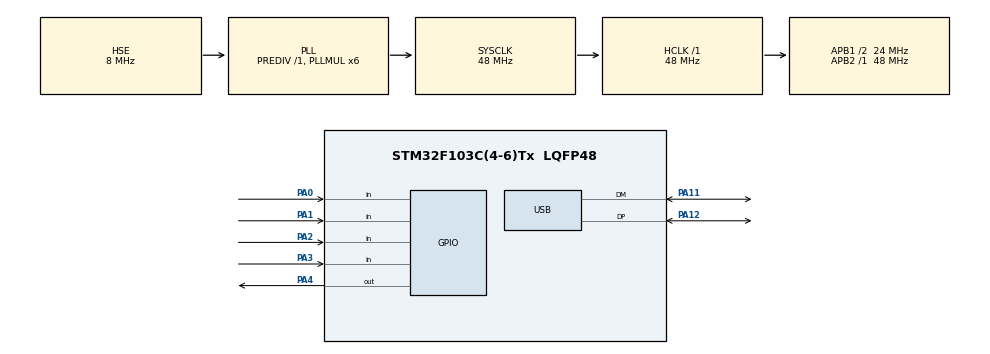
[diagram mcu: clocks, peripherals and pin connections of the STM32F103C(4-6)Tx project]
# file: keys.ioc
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Mcu.Family=STM32F1
Mcu.Name=STM32F103C(4-6)Tx
Mcu.Package=LQFP48
NVIC.PriorityGroup=NVIC_PRIORITYGROUP_4
NVIC.USB_LP_CAN1_RX0_IRQn=true\:0\:0\:false\:false\:true\:false\:true\:true
PA0-WKUP.GPIO_PuPd=GPIO_PULLUP
PA0-WKUP.Signal=GPIO_Input
PA1.GPIO_PuPd=GPIO_PULLUP
PA1.Signal=GPIO_Input
PA11.Mode=Device
PA11.Signal=USB_DM
PA12.Mode=Device
PA12.Signal=USB_DP
PA13.Mode=Serial_Wire
PA13.Signal=SYS_JTMS-SWDIO
PA14.Mode=Serial_Wire
PA14.Signal=SYS_JTCK-SWCLK
PA2.GPIO_PuPd=GPIO_PULLUP
PA2.Signal=GPIO_Input
PA3.GPIO_PuPd=GPIO_PULLUP
PA3.Signal=GPIO_Input
PA4.Signal=GPIO_Output
PD0-OSC_IN.Mode=HSE-External-Oscillator
PD0-OSC_IN.Signal=RCC_OSC_IN
PD1-OSC_OUT.Mode=HSE-External-Oscillator
PD1-OSC_OUT.Signal=RCC_OSC_OUT
ProjectManager.HeapSize=0x200
ProjectManager.StackSize=0x400
ProjectManager.TargetToolchain=STM32CubeIDE
RCC.AHBFreq_Value=48000000
RCC.APB1CLKDivider=RCC_HCLK_DIV2
RCC.APB1Freq_Value=24000000
RCC.APB1TimFreq_Value=48000000
RCC.APB2Freq_Value=48000000
RCC.APB2TimFreq_Value=48000000
RCC.HCLKFreq_Value=48000000
RCC.PLLMUL=RCC_PLL_MUL6
RCC.SYSCLKFreq_VALUE=48000000
RCC.SYSCLKSource=RCC_SYSCLKSOURCE_PLLCLK
RCC.USBFreq_Value=48000000
USB_DEVICE.CLASS_NAME_FS=HID
USB_DEVICE.PRODUCT_STRING_HID_FS=STM32 KEYBOARD
USB_DEVICE.VirtualMode=Hid
USB_DEVICE.VirtualModeFS=Hid_FS
VP_USB_DEVICE_VS_USB_DEVICE_HID_FS.Mode=HID_FS
board=custom

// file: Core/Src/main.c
/* USER CODE BEGIN Header */
/**
  ******************************************************************************
  * @file           : main.c
  * @brief          : Main program body
  ******************************************************************************
  * @attention
  *
  * Copyright (c) 2022 STMicroelectronics.
  * All rights reserved.
  *
  * This software is licensed under terms that can be found in the LICENSE file
  * in the root directory of this software component.
  * If no LICENSE file comes with this software, it is provided AS-IS.
  *
  ******************************************************************************
  */
/* USER CODE END Header */
#include "main.h"
#include "usb_device.h"

/* USER CODE BEGIN Includes */
#include "usbd_hid.h"
/* USER CODE END Includes */

void SystemClock_Config(void);
static void MX_GPIO_Init(void);

/* USER CODE BEGIN 0 */

extern USBD_HandleTypeDef hUsbDeviceFS;

//Keyboard structure data
typedef struct  {
	uint8_t MODIFIER;
	uint8_t RESERVED;
	uint8_t KEYCODE1;
	uint8_t KEYCODE2;
	uint8_t KEYCODE3;
	uint8_t KEYCODE4;
	uint8_t KEYCODE5;
	uint8_t KEYCODE6;
} keyboardHID;

//Initialize structure with a default value of 0
keyboardHID keyboardhid = {0,0,0,0,0,0,0,0};

//Initialize the ports and pins for every input you are using
#define PORT_1 GPIOA
#define PIN_1 GPIO_PIN_0

#define PORT_2 GPIOA
#define PIN_2 GPIO_PIN_1

#define PORT_3 GPIOA
#define PIN_3 GPIO_PIN_2

#define PORT_4 GPIOA
#define PIN_4 GPIO_PIN_3

	uint8_t key;

	//Function for each button press. Add more for more keys
	char read (void) {
		if ((!(HAL_GPIO_ReadPin (PORT_1, PIN_1))) == 0 || (!(HAL_GPIO_ReadPin (PORT_2, PIN_2))) == 0
				|| (!(HAL_GPIO_ReadPin (PORT_3, PIN_3))) == 0 || (!(HAL_GPIO_ReadPin (PORT_4, PIN_4))) == 0) {
				while ((!(HAL_GPIO_ReadPin (PORT_1, PIN_1))) == 0) {
					return 'T';
			}

				while ((!(HAL_GPIO_ReadPin (PORT_2, PIN_2))) == 0) {
					return 'E';
			}

				while ((!(HAL_GPIO_ReadPin (PORT_3, PIN_3))) == 0) {
					return 'S';
			}

				while ((!(HAL_GPIO_ReadPin (PORT_4, PIN_4))) == 0) {
					return '!';
			}
		}
	}

/* USER CODE END 0 */

int main(void)
{

  /* MCU Configuration--------------------------------------------------------*/

  /* Reset of all peripherals, Initializes the Flash interface and the Systick. */
  HAL_Init();

  /* Configure the system clock */
  SystemClock_Config();

  /* Initialize all configured peripherals */
  MX_GPIO_Init();
  MX_USB_DEVICE_Init();

  /* Infinite loop */
  /* USER CODE BEGIN WHILE */
  while (1)
  {
	  key = read();

	  if (key != 0x01){
	  	  if (key == '1')  keyboardhid.KEYCODE1 = 0x1E;
	  	  if (key == '2')  keyboardhid.KEYCODE1 = 0x1F;
	  	  if (key == '3')  keyboardhid.KEYCODE1 = 0x20;
	  	  if (key == '4')  keyboardhid.KEYCODE1 = 0x21;
		  if (key == '5')  keyboardhid.KEYCODE1 = 0x22;
		  if (key == '6')  keyboardhid.KEYCODE1 = 0x23;
		  if (key == '7')  keyboardhid.KEYCODE1 = 0x24;
		  if (key == '8')  keyboardhid.KEYCODE1 = 0x25;
		  if (key == '9')  keyboardhid.KEYCODE1 = 0x26;
		  if (key == '0')  keyboardhid.KEYCODE1 = 0x27;

		  if (key == 'a')
		  {
			  keyboardhid.KEYCODE1 = 0x04;  // press 'a'
		  }
		  if (key == 'b')
		  {
			  keyboardhid.KEYCODE1 = 0x05;  // press 'b'
		  }
		  if (key == 'c')
		  {
			  keyboardhid.KEYCODE1 = 0x06;  // press 'c'
		  }
		  if (key == 'd')
		  {
			  keyboardhid.KEYCODE1 = 0x07;  // press 'd'
		  }
		  if (key == 'e')
		  {
			  keyboardhid.KEYCODE1 = 0x08;  // press 'e'
		  }
		  if (key == 'f')
		  {
			  keyboardhid.KEYCODE1 = 0x09;  // press 'f'
		  }
		  if (key == 'g')
		  {
			  keyboardhid.KEYCODE1 = 0x0A;  // press 'g'
		  }
		  if (key == 'h')
		  {
			  keyboardhid.KEYCODE1 = 0x0B;  // press 'h'
		  }
		  if (key == 'i')
		  {
			  keyboardhid.KEYCODE1 = 0x0C;  // press 'i'
		  }
		  if (key == 'j')
		  {
			  keyboardhid.KEYCODE1 = 0x0D;  // press 'j'
		  }
		  if (key == 'k')
		  {
			  keyboardhid.KEYCODE1 = 0x0E;  // press 'k'
		  }
		  if (key == 'l')
		  {
			  keyboardhid.KEYCODE1 = 0x0F;  // press 'l'
		  }
		  if (key == 'm')
		  {
			  keyboardhid.KEYCODE1 = 0x10;  // press 'm'
		  }
		  if (key == 'n')
		  {
			  keyboardhid.KEYCODE1 = 0x11;  // press 'n'
		  }
		  if (key == 'o')
		  {
			  keyboardhid.KEYCODE1 = 0x12;  // press 'o'
		  }
		  if (key == 'p')
		  {
			  keyboardhid.KEYCODE1 = 0x13;  // press 'p'
		  }
		  if (key == 'q')
		  {
			  keyboardhid.KEYCODE1 = 0x14;  // press 'q'
		  }
		  if (key == 'r')
		  {
			  keyboardhid.KEYCODE1 = 0x15;  // press 'r'
		  }
		  if (key == 's')
		  {
			  keyboardhid.KEYCODE1 = 0x16;  // press 's'
		  }
		  if (key == 't')
		  {
			  keyboardhid.KEYCODE1 = 0x17;  // press 't'
		  }
		  if (key == 'u')
		  {
			  keyboardhid.KEYCODE1 = 0x18;  // press 'u'
		  }
		  if (key == 'v')
		  {
			  keyboardhid.KEYCODE1 = 0x19;  // press 'v'
		  }
		  if (key == 'w')
		  {
			  keyboardhid.KEYCODE1 = 0x1A;  // press 'w'
		  }
		  if (key == 'x')
		  {
			  keyboardhid.KEYCODE1 = 0x1B;  // press 'x'
		  }
		  if (key == 'y')
		  {
			  keyboardhid.KEYCODE1 = 0x1C;  // press 'y'
		  }
		  if (key == 'z')
		  {
			  keyboardhid.KEYCODE1 = 0x1D;  // press 'z'
		  }

		  if (key == 'A')
		  {
			  keyboardhid.MODIFIER = 0x02;  // left shift pressed
			  keyboardhid.KEYCODE1 = 0x04;  // press 'a'
		  }
		  if (key == 'B')
		  {
			  keyboardhid.MODIFIER = 0x02;  // left shift pressed
			  keyboardhid.KEYCODE1 = 0x05;  // press 'b'
		  }
		  if (key == 'C')
		  {
			  keyboardhid.MODIFIER = 0x02;  // left shift pressed
			  keyboardhid.KEYCODE1 = 0x06;  // press 'c'
		  }
		  if (key == 'D')
		  {
			  keyboardhid.MODIFIER = 0x02;  // left shift pressed
			  keyboardhid.KEYCODE1 = 0x07;  // press 'd'
		  }
		  if (key == 'E')
		  {
			  keyboardhid.MODIFIER = 0x02;  // left shift pressed
			  keyboardhid.KEYCODE1 = 0x08;  // press 'e'
		  }
		  if (key == 'F')
		  {
			  keyboardhid.MODIFIER = 0x02;  // left shift pressed
			  keyboardhid.KEYCODE1 = 0x09;  // press 'f'
		  }
		  if (key == 'G')
		  {
			  keyboardhid.MODIFIER = 0x02;  // left shift pressed
			  keyboardhid.KEYCODE1 = 0x0A;  // press 'g'
		  }
		  if (key == 'H')
		  {
			  keyboardhid.MODIFIER = 0x02;  // left shift pressed
			  keyboardhid.KEYCODE1 = 0x0B;  // press 'h'
		  }
		  if (key == 'I')
		  {
			  keyboardhid.MODIFIER = 0x02;  // left shift pressed
			  keyboardhid.KEYCODE1 = 0x0C;  // press 'i'
		  }
		  if (key == 'J')
		  {
			  keyboardhid.MODIFIER = 0x02;  // left shift pressed
			  keyboardhid.KEYCODE1 = 0x0D;  // press 'j'
		  }
		  if (key == 'K')
		  {
			  keyboardhid.MODIFIER = 0x02;  // left shift pressed
			  keyboardhid.KEYCODE1 = 0x0E;  // press 'k'
		  }
		  if (key == 'L')
		  {
			  keyboardhid.MODIFIER = 0x02;  // left shift pressed
			  keyboardhid.KEYCODE1 = 0x0F;  // press 'l'
		  }
		  if (key == 'M')
		  {
			  keyboardhid.MODIFIER = 0x02;  // left shift pressed
			  keyboardhid.KEYCODE1 = 0x10;  // press 'm'
		  }
		  if (key == 'N')
		  {
			  keyboardhid.MODIFIER = 0x02;  // left shift pressed
			  keyboardhid.KEYCODE1 = 0x11;  // press 'n'
		  }
		  if (key == 'O')
		  {
			  keyboardhid.MODIFIER = 0x02;  // left shift pressed
			  keyboardhid.KEYCODE1 = 0x12;  // press 'o'
		  }
		  if (key == 'P')
		  {
			  keyboardhid.MODIFIER = 0x02;  // left shift pressed
			  keyboardhid.KEYCODE1 = 0x13;  // press 'p'
		  }
		  if (key == 'Q')
		  {
			  keyboardhid.MODIFIER = 0x02;  // left shift pressed
			  keyboardhid.KEYCODE1 = 0x14;  // press 'q'
		  }
		  if (key == 'R')
		  {
			  keyboardhid.MODIFIER = 0x02;  // left shift pressed
			  keyboardhid.KEYCODE1 = 0x15;  // press 'r'
		  }
		  if (key == 'S')
		  {
			  keyboardhid.MODIFIER = 0x02;  // left shift pressed
			  keyboardhid.KEYCODE1 = 0x16;  // press 's'
		  }
		  if (key == 'T')
		  {
			  keyboardhid.MODIFIER = 0x02;  // left shift pressed
			  keyboardhid.KEYCODE1 = 0x17;  // press 't'
		  }
		  if (key == 'U')
		  {
			  keyboardhid.MODIFIER = 0x02;  // left shift pressed
			  keyboardhid.KEYCODE1 = 0x18;  // press 'u'
		  }
		  if (key == 'V')
		  {
			  keyboardhid.MODIFIER = 0x02;  // left shift pressed
			  keyboardhid.KEYCODE1 = 0x19;  // press 'v'
		  }
		  if (key == 'W')
		  {
			  keyboardhid.MODIFIER = 0x02;  // left shift pressed
			  keyboardhid.KEYCODE1 = 0x1A;  // press 'w'
		  }
		  if (key == 'X')
		  {
			  keyboardhid.MODIFIER = 0x02;  // left shift pressed
			  keyboardhid.KEYCODE1 = 0x1B;  // press 'x'
		  }
		  if (key == 'Y')
		  {
			  keyboardhid.MODIFIER = 0x02;  // left shift pressed
			  keyboardhid.KEYCODE1 = 0x1C;  // press 'y'
		  }
		  if (key == 'Z')
		  {
			  keyboardhid.MODIFIER = 0x02;  // left shift pressed
			  keyboardhid.KEYCODE1 = 0x1D;  // press 'z'
		  }
		  if (key == ';')
		  {
			  keyboardhid.KEYCODE1 = 0x33;  // press ';'
		  }
		  if (key == ';')
		  {
			  keyboardhid.MODIFIER = 0x02;	// left shift pressed
			  keyboardhid.KEYCODE1 = 0x33;  // press ';'
		  }
		  if (key == '\'')
		  {
			  keyboardhid.KEYCODE1 = 0x34;  // press '''
		  }
		  if (key == '\"')
		  {
			  keyboardhid.MODIFIER = 0x02; 	// left shift pressed
			  keyboardhid.KEYCODE1 = 0x34;  // press '''
		  }
		  if (key == '[')
		  {
			  keyboardhid.KEYCODE1 = 0x2F;  // press '['
		  }
		  if (key == '{')
		  {
			  keyboardhid.MODIFIER = 0x02; 	// left shift pressed
			  keyboardhid.KEYCODE1 = 0x2F;  // press '['
		  }
		  if (key == ']')
		  {
			  keyboardhid.KEYCODE1 = 0x30;  // press ']'
		  }
		  if (key == '}')
		  {
			  keyboardhid.MODIFIER = 0x02; 	// left shift pressed
			  keyboardhid.KEYCODE1 = 0x30;  // press ']'
		  }
		  if (key == '\\')
		  {
			  keyboardhid.KEYCODE1 = 0x31;  // press '\'
		  }
		  if (key == '|')
		  {
			  keyboardhid.MODIFIER = 0x02; 	// left shift pressed
			  keyboardhid.KEYCODE1 = 0x31;  // press '\'
		  }

		  if (key == ',')
		  {
			  keyboardhid.KEYCODE1 = 0x36;  // press ','
		  }
		  if (key == '<')
		  {
			  keyboardhid.MODIFIER = 0x02;  // left shift pressed
			  keyboardhid.KEYCODE1 = 0x36;  // press ','
		  }
		  if (key == '.')
		  {
			  keyboardhid.KEYCODE1 = 0x37;  // press '.'
		  }
		  if (key == '>')
		  {
			  keyboardhid.MODIFIER = 0x02;  // left shift pressed
			  keyboardhid.KEYCODE1 = 0x37;  // press '.'
		  }
		  if (key == '/')
		  {
			  keyboardhid.KEYCODE1 = 0x38;  // press '/'
		  }
		  if (key == '?')
		  {
			  keyboardhid.MODIFIER = 0x02;  // left shift pressed
			  keyboardhid.KEYCODE1 = 0x38;  // press '/'
		  }
		  if (key == '!')
		  {
			  keyboardhid.MODIFIER = 0x02;  // left shift pressed
			  keyboardhid.KEYCODE1 = 0x1E;  // press '1'
		  }
		  if (key == '@')
		  {
			  keyboardhid.MODIFIER = 0x02;	// left shift pressed
			  keyboardhid.KEYCODE1 = 0x1F;	// press '2'
		  }
		  if (key == '#')
		  {
			  keyboardhid.MODIFIER = 0x02;  // left shift pressed
			  keyboardhid.KEYCODE1 = 0x20;  // press '3'
		  }
		  if (key == '$')
		  {
			  keyboardhid.MODIFIER = 0x02;  // left shift pressed
			  keyboardhid.KEYCODE1 = 0x21;  // press '4'
		  }
		  if (key == '%')
		  {
			  keyboardhid.MODIFIER = 0x02;  // left shift pressed
			  keyboardhid.KEYCODE1 = 0x22;  // press '5'
		  }
		  if (key == '^')
		  {
			  keyboardhid.MODIFIER = 0x02;  // left shift pressed
			  keyboardhid.KEYCODE1 = 0x23;  // press '6'
		  }
		  if (key == '&')
		  {
			  keyboardhid.MODIFIER = 0x02;  // left shift pressed
			  keyboardhid.KEYCODE1 = 0x24;  // press '7'
		  }
		  if (key == '*')
		  {
			  keyboardhid.MODIFIER = 0x02;  // left shift pressed
			  keyboardhid.KEYCODE1 = 0x25;  // press '8'
		  }
		  if (key == '(')
		  {
			  keyboardhid.MODIFIER = 0x02;  // left shift pressed
			  keyboardhid.KEYCODE1 = 0x26;  // press '9'
		  }
		  if (key == ')')
		  {
			  keyboardhid.MODIFIER = 0x02;  // left shift pressed
			  keyboardhid.KEYCODE1 = 0x27;  // press '0'
		  }
		  if (key == '-')
		  {
			  keyboardhid.KEYCODE1 = 0x2D;  // press '-'
		  }
		  if (key == '_')
		  {
			  keyboardhid.MODIFIER = 0x02;  // left shift pressed
			  keyboardhid.KEYCODE1 = 0x2D;  // press '-'
		  }
		  if (key == '=')
		  {
			  keyboardhid.KEYCODE1 = 0x2E;  // press '='
		  }
		  if (key == '+')
		  {
			  keyboardhid.MODIFIER = 0x02;  // left shift pressed
			  keyboardhid.KEYCODE1 = 0x2E;  // press '='
		  }

	  	  USBD_HID_SendReport(&hUsbDeviceFS, &keyboardhid, sizeof (keyboardhid));
	  	  keyboardhid.KEYCODE1 = 0x00;  // release key
	  	  USBD_HID_SendReport(&hUsbDeviceFS, &keyboardhid, sizeof (keyboardhid));
	  	  HAL_Delay (50);
	  }

  }

  /* USER CODE END 3 */
}

void SystemClock_Config(void)
{
  RCC_OscInitTypeDef RCC_OscInitStruct = {0};
  RCC_ClkInitTypeDef RCC_ClkInitStruct = {0};
  RCC_PeriphCLKInitTypeDef PeriphClkInit = {0};

  /** Initializes the RCC Oscillators according to the specified parameters
  * in the RCC_OscInitTypeDef structure.
  */
  RCC_OscInitStruct.OscillatorType = RCC_OSCILLATORTYPE_HSE;
  RCC_OscInitStruct.HSEState = RCC_HSE_ON;
  RCC_OscInitStruct.HSEPredivValue = RCC_HSE_PREDIV_DIV1;
  RCC_OscInitStruct.HSIState = RCC_HSI_ON;
  RCC_OscInitStruct.PLL.PLLState = RCC_PLL_ON;
  RCC_OscInitStruct.PLL.PLLSource = RCC_PLLSOURCE_HSE;
  RCC_OscInitStruct.PLL.PLLMUL = RCC_PLL_MUL6;
  if (HAL_RCC_OscConfig(&RCC_OscInitStruct) != HAL_OK)
  {
    Error_Handler();
  }

  /** Initializes the CPU, AHB and APB buses clocks
  */
  RCC_ClkInitStruct.ClockType = RCC_CLOCKTYPE_HCLK|RCC_CLOCKTYPE_SYSCLK
                              |RCC_CLOCKTYPE_PCLK1|RCC_CLOCKTYPE_PCLK2;
  RCC_ClkInitStruct.SYSCLKSource = RCC_SYSCLKSOURCE_PLLCLK;
  RCC_ClkInitStruct.AHBCLKDivider = RCC_SYSCLK_DIV1;
  RCC_ClkInitStruct.APB1CLKDivider = RCC_HCLK_DIV2;
  RCC_ClkInitStruct.APB2CLKDivider = RCC_HCLK_DIV1;

  if (HAL_RCC_ClockConfig(&RCC_ClkInitStruct, FLASH_LATENCY_1) != HAL_OK)
  {
    Error_Handler();
  }
  PeriphClkInit.PeriphClockSelection = RCC_PERIPHCLK_USB;
  PeriphClkInit.UsbClockSelection = RCC_USBCLKSOURCE_PLL;
  if (HAL_RCCEx_PeriphCLKConfig(&PeriphClkInit) != HAL_OK)
  {
    Error_Handler();
  }
}

static void MX_GPIO_Init(void)
{
  GPIO_InitTypeDef GPIO_InitStruct = {0};

  /* GPIO Ports Clock Enable */
  __HAL_RCC_GPIOD_CLK_ENABLE();
  __HAL_RCC_GPIOA_CLK_ENABLE();

  /*Configure GPIO pin Output Level */
  HAL_GPIO_WritePin(GPIOA, GPIO_PIN_4, GPIO_PIN_RESET);

  /*Configure GPIO pins : PA0 PA1 PA2 PA3 */
  GPIO_InitStruct.Pin = GPIO_PIN_0|GPIO_PIN_1|GPIO_PIN_2|GPIO_PIN_3;
  GPIO_InitStruct.Mode = GPIO_MODE_INPUT;
  GPIO_InitStruct.Pull = GPIO_PULLUP;
  HAL_GPIO_Init(GPIOA, &GPIO_InitStruct);

  /*Configure GPIO pin : PA4 */
  GPIO_InitStruct.Pin = GPIO_PIN_4;
  GPIO_InitStruct.Mode = GPIO_MODE_OUTPUT_PP;
  GPIO_InitStruct.Pull = GPIO_NOPULL;
  GPIO_InitStruct.Speed = GPIO_SPEED_FREQ_LOW;
  HAL_GPIO_Init(GPIOA, &GPIO_InitStruct);

}

void Error_Handler(void)
{
  __disable_irq();
  while (1)
  {
  }
}
